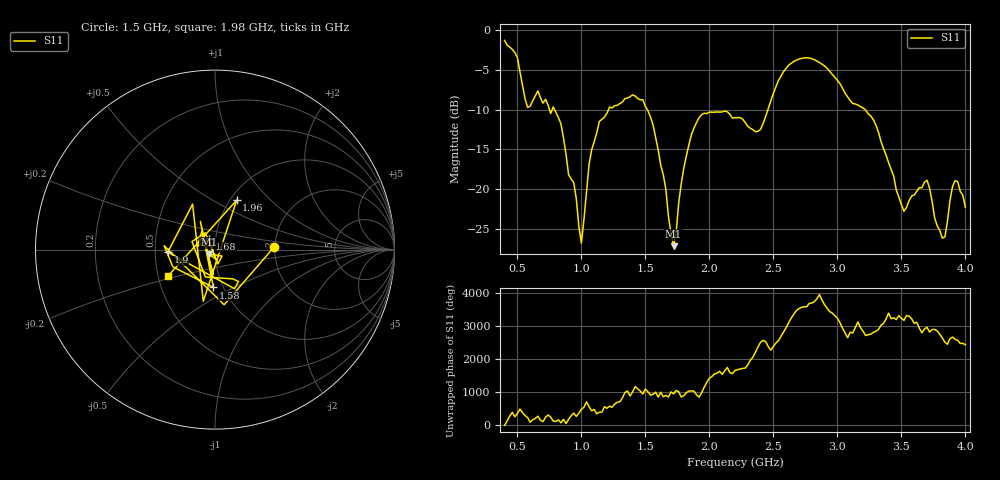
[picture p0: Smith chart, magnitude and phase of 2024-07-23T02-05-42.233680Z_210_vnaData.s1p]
!Created with skrf (http://scikit-rf.org).
# Hz S RI R 50.0
!freq ReS11 ImS11
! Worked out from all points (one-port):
!   181 points, 400 MHz to 4 GHz, reference 50 ohm
!   lowest |S11| = -27.2 dB at 1.72 GHz (marker M1), VSWR 1.09, Z = 46.6 - j2.47 ohm
!   |S11| at or under -10 dB: 791 MHz to 1.211 GHz (420.1 MHz wide, 42 % of centre); 1.515 GHz to 2.456 GHz (941.2 MHz wide, 47.4 % of centre); 3.218 GHz to end of sweep (the widest 3 of 4)
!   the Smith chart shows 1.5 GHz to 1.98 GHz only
!   S11 on the Smith chart (normalised r, x): 1.5 GHz: 1.99, +0.08; 1.58 GHz: 0.90, -0.40; 1.68 GHz: 0.93, +0.11; 1.9 GHz: 0.58, -0.02; 1.96 GHz: 1.07, +0.65; 1.98 GHz: 0.57, -0.18
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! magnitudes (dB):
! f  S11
! 400 MHz  -1.3
! 500 MHz  -3.4
! 580 MHz  -9.7
! 660 MHz  -7.6
! 860 MHz  -13.5
! 1 GHz  -26.8
! 1.06 GHz  -16.9
! 1.14 GHz  -11.5
! 1.3 GHz  -9.2
! 1.5 GHz  -9.6
! 1.58 GHz  -13.5
! 1.68 GHz  -23.4
! 1.72 GHz  -27.2
! 1.76 GHz  -21.8
! 1.9 GHz  -11.6
! 1.96 GHz  -10.4
! 1.98 GHz  -10.5
! 2.2 GHz  -11.0
! 2.4 GHz  -12.5
! 2.66 GHz  -3.9
! 3.1 GHz  -8.8
! 3.28 GHz  -11.2
! 3.52 GHz  -22.8
! 3.56 GHz  -21.5
! 3.7 GHz  -18.9
! 3.82 GHz  -26.2
! 3.92 GHz  -18.9
! 4 GHz  -22.3
